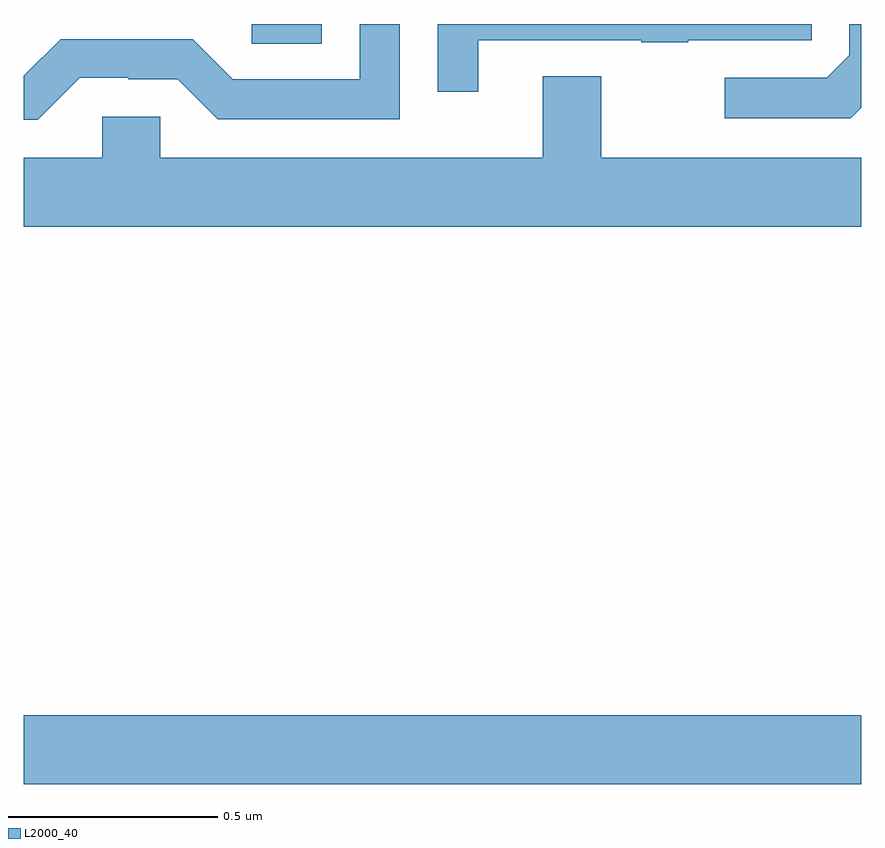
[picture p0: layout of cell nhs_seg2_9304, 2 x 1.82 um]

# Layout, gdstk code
import gdstk
lib = gdstk.Library(unit=1e-6, precision=1e-09)
def R(c, l, rs):  # rectangles x0, y0, x1, y1
    for r in rs: c.add(gdstk.rectangle(r[:2], r[2:], *l))
def P(c, l, *ps):  # polygons
    for p in ps: c.add(gdstk.Polygon(p, *l))
L2000_40 = (2000, 40)

nhs_seg2_9304 = lib.new_cell('nhs_seg2_9304')
R(nhs_seg2_9304, L2000_40, [(227,632.984,229,633.148), (227.544,634.753,227.712,634.8)])
P(nhs_seg2_9304, L2000_40, [(229,634.6),(229,634.8),(228.972,634.8),(228.972,634.725),(228.918,634.671),(228.675,634.671),(228.675,634.575),(228.975,634.575)],
  [(228.085,634.761),(228.475,634.761),(228.475,634.756),(228.587,634.756),(228.587,634.761),(228.882,634.761),(228.882,634.8),(227.989,634.8),(227.989,634.638),(228.085,634.638)],
  [(227.133,634.671),(227.249,634.671),(227.249,634.668),(227.367,634.668),(227.463,634.572),(227.898,634.572),(227.898,634.8),(227.802,634.8),(227.802,634.668),(227.499,634.668),(227.403,634.764),(227.088,634.764),(227,634.676),(227,634.571),(227.033,634.571)],
  [(229,634.48),(228.379,634.48),(228.379,634.675),(228.239,634.675),(228.239,634.48),(227.325,634.48),(227.325,634.578),(227.187,634.578),(227.187,634.48),(227,634.48),(227,634.316),(229,634.316)])

lib.write_gds('nhs_seg2_9304.gds')
